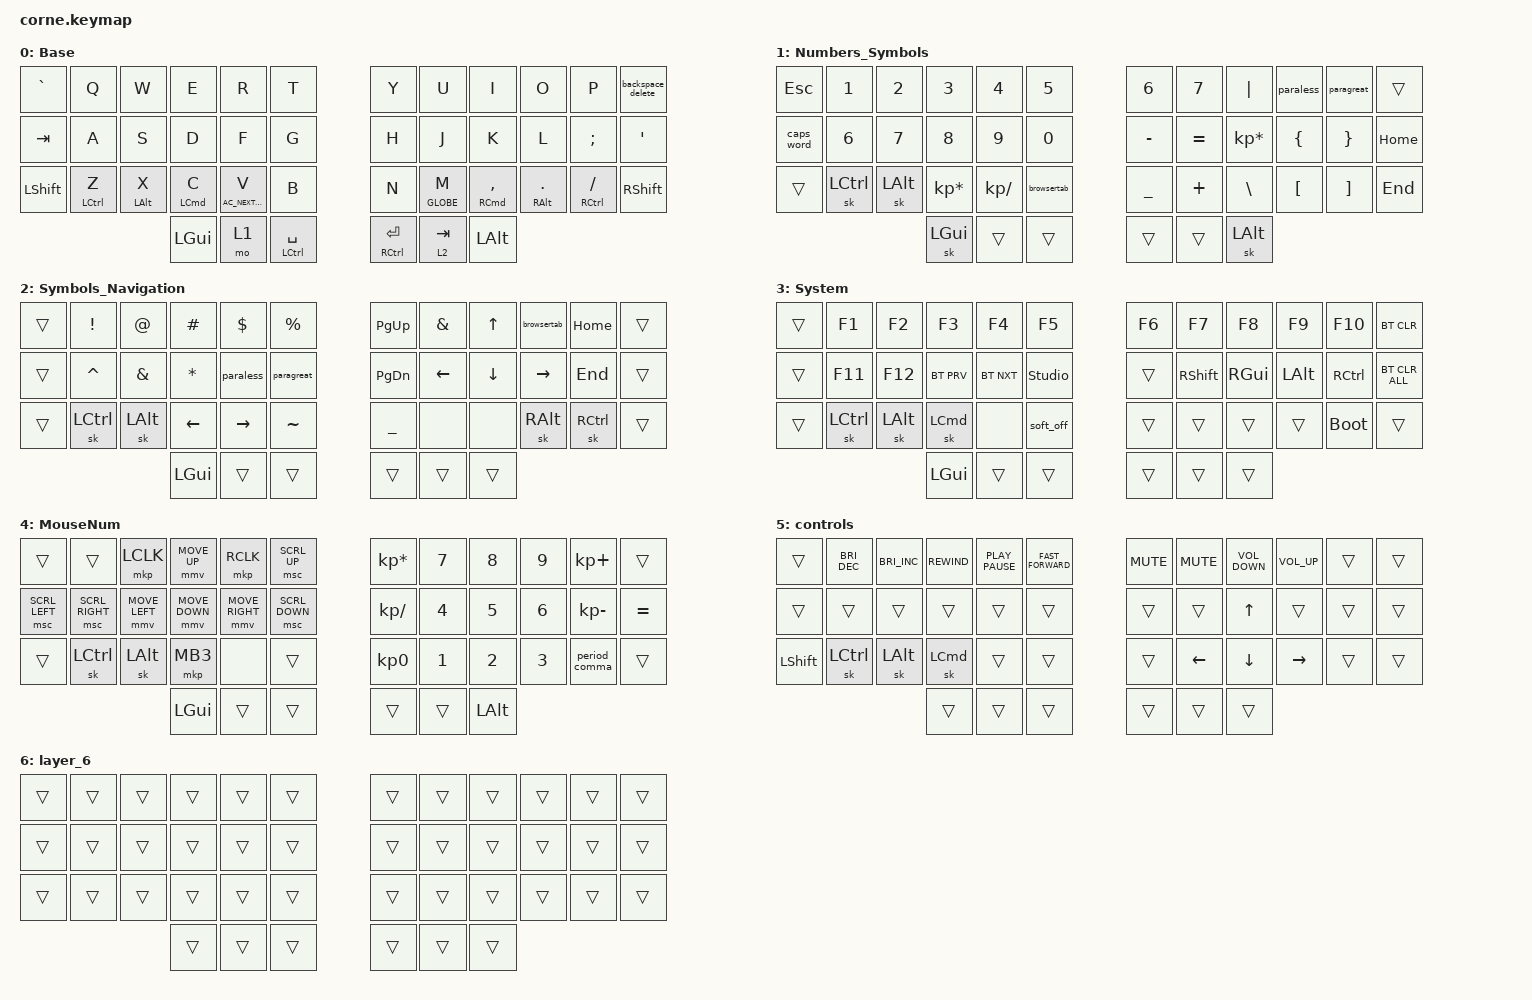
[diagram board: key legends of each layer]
#include <behaviors.dtsi>
#include <dt-bindings/zmk/bt.h>
#include <dt-bindings/zmk/keys.h>
#include <dt-bindings/zmk/pointing.h>

#define DEF 0
#define NAV 1
#define SYM 2
#define ADJ 3
#define EXTRA 4

/ {
    behaviors {
        hm: homerow_mods {
            compatible = "zmk,behavior-hold-tap";
            label = "HOMEROW_MODS";
            #binding-cells = <2>;
            tapping-term-ms = <300>;
            quick_tap_ms = <150>;
            flavor = "tap-preferred";
            bindings = <&kp>, <&kp>;

            quick-tap-ms = <150>;
            global-quick-tap;
            require-prior-idle-ms = <200>;
        };

        para: para {
            compatible = "zmk,behavior-tap-dance";
            label = "PARA";
            #binding-cells = <0>;
            bindings = <&kp LEFT_PARENTHESIS>, <&kp RIGHT_PARENTHESIS>;
        };

        caps: caps {
            compatible = "zmk,behavior-caps-word";
            label = "CAPS";
            #binding-cells = <0>;
            continue-list = <MINUS BACKSPACE>;
        };

        paraless: paraless {
            compatible = "zmk,behavior-mod-morph";
            label = "PARALESS";
            bindings = <&kp LEFT_PARENTHESIS>, <&kp LESS_THAN>;

            #binding-cells = <0>;
            mods = <(MOD_LSFT|MOD_RSFT)>;
        };

        paragreat: paragreat {
            compatible = "zmk,behavior-mod-morph";
            label = "PARAGREAT";
            bindings = <&kp RIGHT_PARENTHESIS>, <&kp GREATER_THAN>;

            #binding-cells = <0>;
            mods = <(MOD_LSFT|MOD_RSFT)>;
        };

        shift_tolayer: shift_tolayer {
            compatible = "zmk,behavior-tap-dance";
            label = "SHIFT_TOLAYER";
            #binding-cells = <0>;
            bindings = <&kp LEFT_SHIFT>, <&tog 5>;

            tapping-term-ms = <100>;
        };

        backspace_delete: backspace_delete {
            compatible = "zmk,behavior-mod-morph";
            label = "BACKSPACE_DELETE";
            bindings = <&kp BACKSPACE>, <&kp DELETE>;

            #binding-cells = <0>;
            mods = <(MOD_RSFT|MOD_LSFT)>;
        };

        shift_caps_word: shift_caps_word {
            compatible = "zmk,behavior-tap-dance";
            label = "SHIFT_CAPS_WORD";
            #binding-cells = <0>;
            bindings = <&kp LEFT_SHIFT>, <&caps_word>;
        };

        period_comma: period_comma {
            compatible = "zmk,behavior-tap-dance";
            label = "PERIOD_COMMA";
            #binding-cells = <0>;
            bindings = <&kp PERIOD>, <&kp COMMA>;

            tapping-term-ms = <400>;
        };

        hrm_right: hrm_right {
            compatible = "zmk,behavior-hold-tap";
            label = "HRM_RIGHT";
            #binding-cells = <2>;
            tapping-term-ms = <300>;
            quick_tap_ms = <150>;
            flavor = "balanced";
            bindings = <&kp>, <&kp>;

            quick-tap-ms = <150>;
            require-prior-idle-ms = <150>;
            hold-trigger-key-positions = <1 0 2 3 4 5 12 13 14 15 16 17 24 25 26 27 28 29 36 37 38>;
            hold-trigger-on-release;
        };

        hrm_left: hrm_left {
            compatible = "zmk,behavior-hold-tap";
            label = "HRM_LEFT";
            #binding-cells = <2>;
            tapping-term-ms = <300>;
            quick_tap_ms = <150>;
            flavor = "tap-preferred";
            bindings = <&kp>, <&kp>;

            quick-tap-ms = <150>;
            require-prior-idle-ms = <150>;
            hold-trigger-on-release;
            hold-trigger-key-positions = <6 7 8 9 10 11 18 19 20 21 22 23 30 31 32 33 34 35 39 40 41>;
        };
    };

    macros {
        browsertab: browsertab {
            compatible = "zmk,behavior-macro";
            #binding-cells = <0>;
            bindings =
                <&macro_press>,
                <&kp LCTRL>,
                <&macro_tap>,
                <&kp TAB>,
                <&macro_release>,
                <&kp LCTRL>;
        };

        tile_left: tile_left {
            compatible = "zmk,behavior-macro";
            #binding-cells = <0>;
            bindings =
                <&macro_press>,
                <&kp LEFT_CONTROL &kp GLOBE>,
                <&macro_tap>,
                <&kp LEFT>,
                <&macro_release>,
                <&kp LEFT_CONTROL &kp GLOBE>;

            label = "TILE_LEFT";
        };

        tile_right: tile_right {
            compatible = "zmk,behavior-macro";
            #binding-cells = <0>;
            bindings =
                <&macro_press>,
                <&kp LEFT_CONTROL &kp GLOBE>,
                <&macro_tap>,
                <&kp RIGHT>,
                <&macro_release>,
                <&kp LEFT_CONTROL &kp GLOBE>;

            label = "TILE_RIGHT";
        };
    };

    combos {
        compatible = "zmk,combos";

        perc {
            bindings = <&kp PERCENT>;
            key-positions = <5 17>;
        };

        dollar {
            bindings = <&kp DOLLAR>;
            key-positions = <4 16>;
        };

        pound {
            bindings = <&kp POUND>;
            key-positions = <3 15>;
        };

        at {
            bindings = <&kp AT>;
            key-positions = <2 14>;
        };

        star {
            bindings = <&kp STAR>;
            key-positions = <8 20>;
        };

        slash {
            bindings = <&kp SLASH>;
            key-positions = <32 20>;
        };

        plus {
            bindings = <&kp PLUS>;
            key-positions = <7 19>;
        };

        minus {
            bindings = <&kp KP_MINUS>;
            key-positions = <31 19>;
        };

        underscore {
            bindings = <&kp UNDER>;
            key-positions = <30 18>;
        };

        leftbrack {
            bindings = <&kp LEFT_BRACKET>;
            key-positions = <28 29>;
        };

        rightbrack {
            bindings = <&kp RIGHT_BRACKET>;
            key-positions = <30 31>;
        };

        para-less {
            bindings = <&paraless>;
            key-positions = <20 19>;
        };

        para-great {
            bindings = <&paragreat>;
            key-positions = <20 21>;
        };

        Exclamation {
            bindings = <&kp EXCL>;
            key-positions = <1 13>;
        };

        Carret {
            bindings = <&kp CARET>;
            key-positions = <6 18>;
        };

        LeftBrace {
            bindings = <&kp LEFT_BRACE>;
            key-positions = <16 17>;
        };

        RightBrace {
            bindings = <&kp RIGHT_BRACE>;
            key-positions = <18 19>;
        };

        delete {
            bindings = <&kp DELETE>;
            key-positions = <11 10>;
        };

        para_left {
            bindings = <&paraless>;
            key-positions = <4 5>;
        };

        para_right {
            bindings = <&paragreat>;
            key-positions = <6 7>;
        };

        to_numpad {
            bindings = <&tog 4>;
            key-positions = <35 40>;
            require-prior-idle-ms = <400>;
            timeout-ms = <30>;
        };

        pipe {
            bindings = <&kp PIPE>;
            key-positions = <21 33>;
        };

        backslash {
            bindings = <&kp BACKSLASH>;
            key-positions = <22 34>;
        };

        ctrl_command {
            bindings = <&sk LC(GLOBE)>;
            key-positions = <13 25>;
        };

        to_layer5 {
            bindings = <&tog 5>;
            key-positions = <24 37>;
            require-prior-idle-ms = <400>;
            timeout-ms = <30>;
        };

        to_mouse_num_R {
            bindings = <&mo 4>;
            key-positions = <23 35>;
            require-prior-idle-ms = <200>;
        };

        to_mouse_num_L {
            bindings = <&mo 4>;
            key-positions = <12 24>;
            require-prior-idle-ms = <200>;
        };
    };

    //

    keymap {
        compatible = "zmk,keymap";

        Base {
            display-name = "Base";

            // -----------------------------------------------------------------------------------------
            // |  Q  |  W  |  E  |  R  |  T  |   |  Y  |  U   |  I  |  O  |  P  |
            // |  A  |  S  |  D  |  F  |  G  |   |  H  |  J   |  K  |  L  |  ;  |
            // |  Z  |  X  |  C  |  V  |  B  |   |  N  |  M   |  ,  |  .  |  /  |
            // | GUI | CTRL | SHFT | LWR | SPC |   | ENT | RSE  | BKSP | ALT | ESC |

            bindings = <
&kp GRAVE       &kp Q                     &kp W                 &kp E                     &kp R                                         &kp T                     &kp Y                    &kp U               &kp I                           &kp O                     &kp P                          &backspace_delete
&kp TAB         &kp A                     &kp S                 &kp D                     &kp F                                         &kp G                     &kp H                    &kp J               &kp K                           &kp L                     &kp SEMICOLON                  &kp SQT
&kp LEFT_SHIFT  &hrm_left LEFT_CONTROL Z  &hrm_left LEFT_ALT X  &hrm_left LEFT_COMMAND C  &hrm_left C_AC_NEXT_KEYBOARD_LAYOUT_SELECT V  &kp B                     &kp N                    &hrm_right GLOBE M  &hrm_right RIGHT_COMMAND COMMA  &hrm_right RIGHT_ALT DOT  &hrm_right RIGHT_CONTROL FSLH  &kp RSHFT
                                                                &kp LGUI                  &mo 1                                         &hm LEFT_CONTROL SPACE    &hm RIGHT_CONTROL ENTER  &lt 2 TAB           &kp LEFT_ALT
            >;
        };

        NUM_SYM {
            display-name = "Numbers_Symbols";

            // -----------------------------------------------------------------------------------------
            // |  TAB |  1  |  2  |  3  |  4  |  5  |   |  6  |  7  |  8  |  9  |  0  | BKSP |
            // | BTCLR| BT1 | BT2 | BT3 | BT4 | BT5 |   | LFT | DWN |  UP | RGT |     |      |
            // | SHFT |     |     |     |     |     |   |     |     |     |     |     |      |
            // | GUI | CTRL | SHFT | LWR | SPC |   | ENT | RSE  | BKSP | ALT | ESC |

            bindings = <
&kp ESC     &kp N1            &kp N2        &kp N3           &kp N4         &kp N5         &kp N6          &kp N7     &kp PIPE         &paraless         &paragreat         &trans
&caps_word  &kp NUMBER_6      &kp N7        &kp N8           &kp N9         &kp N0         &kp MINUS       &kp EQUAL  &kp KP_MULTIPLY  &kp LEFT_BRACE    &kp RIGHT_BRACE    &kp HOME
&trans      &sk LEFT_CONTROL  &sk LEFT_ALT  &kp KP_ASTERISK  &kp KP_DIVIDE  &browsertab    &kp UNDERSCORE  &kp PLUS   &kp BACKSLASH    &kp LEFT_BRACKET  &kp RIGHT_BRACKET  &kp END
                                            &sk LGUI         &trans         &trans         &trans          &trans     &sk LEFT_ALT
            >;
        };

        SYM_NAV {
            display-name = "Symbols_Navigation";

            // -----------------------------------------------------------------------------------------
            // |  TAB |  !  |  @  |  #  |  $  |  %  |   |  ^  |  &  |  *  |  (  |  )  | BKSP |
            // | CTRL |     |     |     |     |     |   |  -  |  =  |  [  |  ]  |  \  |  `   |
            // | SHFT |     |     |     |     |     |   |  _  |  +  |  {  |  }  | "|" |  ~   |
            //                    | GUI |     | SPC |   | ENT |     | ALT |

            bindings = <
&trans  &kp EXCL          &kp AT         &kp HASH        &kp DLLR         &kp PRCNT     &kp PAGE_UP    &kp AMPS  &kp UP_ARROW    &browsertab    &kp HOME           &trans
&trans  &kp CARET         &kp AMPERSAND  &kp STAR        &paraless        &paragreat    &kp PAGE_DOWN  &kp LEFT  &kp DOWN_ARROW  &kp RIGHT      &kp END            &trans
&trans  &sk LEFT_CONTROL  &sk LEFT_ALT   &kp LEFT_ARROW  &kp RIGHT_ARROW  &kp TILDE     &kp UNDER      &none     &none           &sk RIGHT_ALT  &sk RIGHT_CONTROL  &trans
                                         &kp LGUI        &trans           &trans        &trans         &trans    &trans
            >;
        };

        ADJ {
            display-name = "System";
            bindings = <
&trans  &kp F1            &kp F2        &kp F3            &kp F4      &kp F5            &kp F6  &kp F7           &kp F8         &kp F9        &kp F10            &bt BT_CLR
&trans  &kp F11           &kp F12       &bt BT_PRV        &bt BT_NXT  &studio_unlock    &trans  &kp RIGHT_SHIFT  &kp RIGHT_GUI  &kp LEFT_ALT  &kp RIGHT_CONTROL  &bt BT_CLR_ALL
&trans  &sk LEFT_CONTROL  &sk LEFT_ALT  &sk LEFT_COMMAND  &none       &soft_off         &trans  &trans           &trans         &trans        &bootloader        &trans
                                        &kp LEFT_GUI      &trans      &trans            &trans  &trans           &trans
            >;
        };

        MouseNum {
            display-name = "MouseNum";
            bindings = <
&trans          &trans            &mkp LCLK       &mmv MOVE_UP    &mkp RCLK        &msc SCRL_UP      &kp KP_MULTIPLY  &kp N7        &kp N8        &kp N9        &kp KP_PLUS      &trans
&msc SCRL_LEFT  &msc SCRL_RIGHT   &mmv MOVE_LEFT  &mmv MOVE_DOWN  &mmv MOVE_RIGHT  &msc SCRL_DOWN    &kp KP_DIVIDE    &kp N4        &kp N5        &kp NUMBER_6  &kp KP_SUBTRACT  &kp EQUAL
&trans          &sk LEFT_CONTROL  &sk LEFT_ALT    &mkp MB3        &none            &trans            &kp KP_NUMBER_0  &kp NUMBER_1  &kp NUMBER_2  &kp NUMBER_3  &period_comma    &trans
                                                  &kp LEFT_GUI    &trans           &trans            &trans           &trans        &kp LEFT_ALT
            >;
        };

        controls {
            bindings = <
&trans          &kp C_BRI_DEC     &kp C_BRI_INC  &kp C_REWIND      &kp K_PLAY_PAUSE  &kp C_FAST_FORWARD    &kp K_MUTE  &kp C_MUTE  &kp C_VOLUME_DOWN  &kp C_VOLUME_UP  &trans  &trans
&trans          &trans            &trans         &trans            &trans            &trans                &trans      &trans      &kp UP_ARROW       &trans           &trans  &trans
&kp LEFT_SHIFT  &sk LEFT_CONTROL  &sk LEFT_ALT   &sk LEFT_COMMAND  &trans            &trans                &trans      &kp LEFT    &kp DOWN           &kp RIGHT        &trans  &trans
                                                 &trans            &trans            &trans                &trans      &trans      &trans
            >;
        };

        layer_6 {
            bindings = <
&trans  &trans  &trans  &trans  &trans  &trans    &trans  &trans  &trans  &trans  &trans  &trans
&trans  &trans  &trans  &trans  &trans  &trans    &trans  &trans  &trans  &trans  &trans  &trans
&trans  &trans  &trans  &trans  &trans  &trans    &trans  &trans  &trans  &trans  &trans  &trans
                        &trans  &trans  &trans    &trans  &trans  &trans
            >;
        };
    };

    conditional_layers {
        compatible = "zmk,conditional-layers";

        l3 {
            if-layers = <1 2>;
            then-layer = <3>;
        };
    };
};
